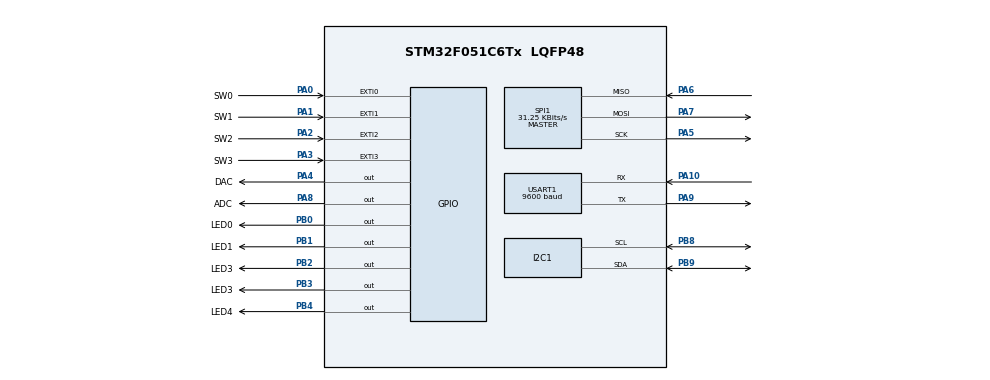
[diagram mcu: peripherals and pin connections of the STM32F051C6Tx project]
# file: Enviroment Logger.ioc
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Mcu.Family=STM32F0
Mcu.Name=STM32F051C6Tx
Mcu.Package=LQFP48
Mcu.UserConstants=SHDN,0x10;GA,0x20;BUF,0x40;SNGL,0x80;CH0,0x00;CH1,0x10;CH2,0x20;RTC_ADDR,0x6F;RTC_SEC_ADDR,0x00;RTC_MIN_ADDR,0x01;RTC_HOUR_ADDR,0x02;RTC_WEEKDAY_ADDR,0x03;RTC_DATE_ADDR,0x04;RTC_MONTH_ADDR,0x05;RTC_YEAR_ADDR,0x06
NVIC.EXTI0_1_IRQn=true\:3\:0\:true\:false\:true\:true\:true
NVIC.EXTI2_3_IRQn=true\:0\:0\:false\:false\:true\:true\:true
NVIC.SPI1_IRQn=true\:0\:0\:false\:false\:true\:true\:true
NVIC.USART1_IRQn=true\:2\:0\:true\:false\:true\:true\:true
PA0.GPIO_Label=SW0
PA0.GPIO_ModeDefaultEXTI=GPIO_MODE_IT_FALLING
PA0.GPIO_PuPd=GPIO_PULLUP
PA0.Signal=GPXTI0
PA1.GPIO_Label=SW1
PA1.GPIO_ModeDefaultEXTI=GPIO_MODE_IT_FALLING
PA1.GPIO_PuPd=GPIO_PULLUP
PA1.Signal=GPXTI1
PA10.Mode=Asynchronous
PA10.Signal=USART1_RX
PA2.GPIO_Label=SW2
PA2.GPIO_ModeDefaultEXTI=GPIO_MODE_IT_FALLING
PA2.GPIO_PuPd=GPIO_PULLUP
PA2.Signal=GPXTI2
PA3.GPIO_Label=SW3
PA3.GPIO_ModeDefaultEXTI=GPIO_MODE_IT_FALLING
PA3.GPIO_PuPd=GPIO_PULLUP
PA3.Signal=GPXTI3
PA4.GPIO_Label=DAC
PA4.GPIO_Speed=GPIO_SPEED_FREQ_MEDIUM
PA4.PinState=GPIO_PIN_SET
PA4.Signal=GPIO_Output
PA5.Mode=Full_Duplex_Master
PA5.Signal=SPI1_SCK
PA6.Mode=Full_Duplex_Master
PA6.Signal=SPI1_MISO
PA7.Mode=Full_Duplex_Master
PA7.Signal=SPI1_MOSI
PA8.GPIO_Label=ADC
PA8.Signal=GPIO_Output
PA9.Mode=Asynchronous
PA9.Signal=USART1_TX
PB0.GPIO_Label=LED0
PB0.Signal=GPIO_Output
PB1.GPIO_Label=LED1
PB1.Signal=GPIO_Output
PB2.GPIO_Label=LED3
PB2.Signal=GPIO_Output
PB3.GPIO_Label=LED3
PB3.Signal=GPIO_Output
PB4.GPIO_Label=LED4
PB4.Signal=GPIO_Output
PB8.Mode=I2C
PB8.Signal=I2C1_SCL
PB9.Mode=I2C
PB9.Signal=I2C1_SDA
ProjectManager.HeapSize=0x200
ProjectManager.StackSize=0x400
ProjectManager.TargetToolchain=STM32CubeIDE
SPI1.BaudRatePrescaler=SPI_BAUDRATEPRESCALER_256
SPI1.CalculateBaudRate=31.25 KBits/s
SPI1.DataSize=SPI_DATASIZE_16BIT
SPI1.Direction=SPI_DIRECTION_2LINES
SPI1.Mode=SPI_MODE_MASTER
SPI1.TIMode=SPI_TIMODE_DISABLE
SPI1.VirtualType=VM_MASTER
USART1.BaudRate=9600
USART1.Mode=MODE_TX_RX
USART1.RxPinLevelInvertParam=ADVFEATURE_RXINV_DISABLE
USART1.TxPinLevelInvertParam=ADVFEATURE_TXINV_DISABLE
USART1.VirtualMode-Asynchronous=VM_ASYNC
board=custom

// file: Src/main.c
/* USER CODE BEGIN Header */

/* USER CODE END Header */

#include "main.h"

/* USER CODE BEGIN PTD */
/**
 * @brief			A holding structure for a decimal separated number.
 * @param 			ones The decimal ones of the number.
 * @param 			tens The decimal tens of the number.
 */
typedef struct {
	uint8_t ones;
	uint8_t tens;
} decimalSeperatedValue;

/**
 * @brief			A holding structure for all parameters tracked by the MCP7940 RTC.
 */
typedef struct {
	uint8_t seconds;
	uint8_t minutes;
	uint8_t hours;
	uint8_t weekday;
	uint8_t date;
	uint8_t month;
	uint8_t year;
} time;
/* USER CODE END PTD */

/* USER CODE BEGIN PD */
#define ADC_Channels 3
/* USER CODE END PD */

I2C_HandleTypeDef hi2c1;

SPI_HandleTypeDef hspi1;

UART_HandleTypeDef huart1;

void SystemClock_Config(void);
static void MX_GPIO_Init(void);
static void MX_SPI1_Init(void);
static void MX_USART1_UART_Init(void);
static void MX_I2C1_Init(void);
/* USER CODE BEGIN PFP */
void writeDACVoltage(float);
void writeDAC(uint16_t *);

float readADC		(uint8_t);
float readADCMean(uint8_t);

void setRTCTime(time);
void setRTCSeconds(uint8_t);
void setRTCMinutes(uint8_t);
void setRTCHours(uint8_t);
void setRTCWeekday(uint8_t);
void setRTCDate(uint8_t);
void setRTCMonth(uint8_t, uint8_t);
void setRTCYear(uint8_t);

time 	getRTCTime();
uint8_t getRTCSeconds();
uint8_t getRTCMinutes();
uint8_t getRTCHours();
uint8_t getRTCWeekday();
uint8_t getRTCDate();
uint8_t getRTCMonth();
uint8_t getRTCYear();

uint8_t startRTC();
uint8_t stopRTC();
uint8_t getRTCOscillatorStatus();

uint8_t mean(uint16_t *);
float   meanf(float    *);

decimalSeperatedValue seperateDecimalValues(uint8_t);
uint8_t mergeDecimalSeperatedValue(decimalSeperatedValue);
decimalSeperatedValue extractRegisterValues(uint8_t, uint8_t);
/* USER CODE END PFP */

/* USER CODE BEGIN 0 */
static uint8_t UARTbuffer[1];

static time t = {
		  .seconds = 50,
		  .minutes = 59,
		  .hours   = 23,
		  .weekday = 7,
		  .date	   = 10,
		  .month   = 10,
		  .year	   = 19
};

/* USER CODE END 0 */

int main(void)
{

  /* MCU Configuration--------------------------------------------------------*/

  /* Reset of all peripherals, Initializes the Flash interface and the Systick. */
  HAL_Init();

  /* Configure the system clock */
  SystemClock_Config();

  /* Initialize all configured peripherals */
  MX_GPIO_Init();
  MX_SPI1_Init();
  MX_USART1_UART_Init();
  MX_I2C1_Init();
  /* USER CODE BEGIN 2 */
  HAL_UART_Receive_IT(&huart1, UARTbuffer, sizeof(UARTbuffer));

  writeDACVoltage(2.1);

  setRTCTime(t);
  startRTC();

  /* USER CODE END 2 */

  /* Infinite loop */
  while (1){

    /* USER CODE BEGIN 3 */
    t = getRTCTime();
	HAL_Delay(1000);

  }
  /* USER CODE END 3 */
}

void SystemClock_Config(void)
{
  RCC_OscInitTypeDef RCC_OscInitStruct = {0};
  RCC_ClkInitTypeDef RCC_ClkInitStruct = {0};
  RCC_PeriphCLKInitTypeDef PeriphClkInit = {0};

  /** Initializes the CPU, AHB and APB busses clocks
  */
  RCC_OscInitStruct.OscillatorType = RCC_OSCILLATORTYPE_HSI;
  RCC_OscInitStruct.HSIState = RCC_HSI_ON;
  RCC_OscInitStruct.HSICalibrationValue = RCC_HSICALIBRATION_DEFAULT;
  RCC_OscInitStruct.PLL.PLLState = RCC_PLL_NONE;
  if (HAL_RCC_OscConfig(&RCC_OscInitStruct) != HAL_OK)
  {
    Error_Handler();
  }
  /** Initializes the CPU, AHB and APB busses clocks
  */
  RCC_ClkInitStruct.ClockType = RCC_CLOCKTYPE_HCLK|RCC_CLOCKTYPE_SYSCLK
                              |RCC_CLOCKTYPE_PCLK1;
  RCC_ClkInitStruct.SYSCLKSource = RCC_SYSCLKSOURCE_HSI;
  RCC_ClkInitStruct.AHBCLKDivider = RCC_SYSCLK_DIV1;
  RCC_ClkInitStruct.APB1CLKDivider = RCC_HCLK_DIV1;

  if (HAL_RCC_ClockConfig(&RCC_ClkInitStruct, FLASH_LATENCY_0) != HAL_OK)
  {
    Error_Handler();
  }
  PeriphClkInit.PeriphClockSelection = RCC_PERIPHCLK_USART1|RCC_PERIPHCLK_I2C1;
  PeriphClkInit.Usart1ClockSelection = RCC_USART1CLKSOURCE_PCLK1;
  PeriphClkInit.I2c1ClockSelection = RCC_I2C1CLKSOURCE_HSI;
  if (HAL_RCCEx_PeriphCLKConfig(&PeriphClkInit) != HAL_OK)
  {
    Error_Handler();
  }
}

static void MX_I2C1_Init(void)
{

  hi2c1.Instance = I2C1;
  hi2c1.Init.Timing = 0x2000090E;
  hi2c1.Init.OwnAddress1 = 0;
  hi2c1.Init.AddressingMode = I2C_ADDRESSINGMODE_7BIT;
  hi2c1.Init.DualAddressMode = I2C_DUALADDRESS_DISABLE;
  hi2c1.Init.OwnAddress2 = 0;
  hi2c1.Init.OwnAddress2Masks = I2C_OA2_NOMASK;
  hi2c1.Init.GeneralCallMode = I2C_GENERALCALL_DISABLE;
  hi2c1.Init.NoStretchMode = I2C_NOSTRETCH_DISABLE;
  if (HAL_I2C_Init(&hi2c1) != HAL_OK)
  {
    Error_Handler();
  }
  /** Configure Analogue filter
  */
  if (HAL_I2CEx_ConfigAnalogFilter(&hi2c1, I2C_ANALOGFILTER_ENABLE) != HAL_OK)
  {
    Error_Handler();
  }
  /** Configure Digital filter
  */
  if (HAL_I2CEx_ConfigDigitalFilter(&hi2c1, 0) != HAL_OK)
  {
    Error_Handler();
  }

}

static void MX_SPI1_Init(void)
{

  /* SPI1 parameter configuration*/
  hspi1.Instance = SPI1;
  hspi1.Init.Mode = SPI_MODE_MASTER;
  hspi1.Init.Direction = SPI_DIRECTION_2LINES;
  hspi1.Init.DataSize = SPI_DATASIZE_16BIT;
  hspi1.Init.CLKPolarity = SPI_POLARITY_LOW;
  hspi1.Init.CLKPhase = SPI_PHASE_1EDGE;
  hspi1.Init.NSS = SPI_NSS_SOFT;
  hspi1.Init.BaudRatePrescaler = SPI_BAUDRATEPRESCALER_256;
  hspi1.Init.FirstBit = SPI_FIRSTBIT_MSB;
  hspi1.Init.TIMode = SPI_TIMODE_DISABLE;
  hspi1.Init.CRCCalculation = SPI_CRCCALCULATION_DISABLE;
  hspi1.Init.CRCPolynomial = 7;
  hspi1.Init.CRCLength = SPI_CRC_LENGTH_DATASIZE;
  hspi1.Init.NSSPMode = SPI_NSS_PULSE_ENABLE;
  if (HAL_SPI_Init(&hspi1) != HAL_OK)
  {
    Error_Handler();
  }

}

static void MX_USART1_UART_Init(void)
{

  huart1.Instance = USART1;
  huart1.Init.BaudRate = 9600;
  huart1.Init.WordLength = UART_WORDLENGTH_8B;
  huart1.Init.StopBits = UART_STOPBITS_1;
  huart1.Init.Parity = UART_PARITY_NONE;
  huart1.Init.Mode = UART_MODE_TX_RX;
  huart1.Init.HwFlowCtl = UART_HWCONTROL_NONE;
  huart1.Init.OverSampling = UART_OVERSAMPLING_16;
  huart1.Init.OneBitSampling = UART_ONE_BIT_SAMPLE_DISABLE;
  huart1.AdvancedInit.AdvFeatureInit = UART_ADVFEATURE_NO_INIT;
  if (HAL_UART_Init(&huart1) != HAL_OK)
  {
    Error_Handler();
  }

}

static void MX_GPIO_Init(void)
{
  GPIO_InitTypeDef GPIO_InitStruct = {0};

  /* GPIO Ports Clock Enable */
  __HAL_RCC_GPIOA_CLK_ENABLE();
  __HAL_RCC_GPIOB_CLK_ENABLE();

  /*Configure GPIO pin Output Level */
  HAL_GPIO_WritePin(DAC_GPIO_Port, DAC_Pin, GPIO_PIN_SET);

  /*Configure GPIO pin Output Level */
  HAL_GPIO_WritePin(GPIOB, LED0_Pin|LED1_Pin|LED3_Pin|LED3B3_Pin
                          |LED4_Pin, GPIO_PIN_RESET);

  /*Configure GPIO pin Output Level */
  HAL_GPIO_WritePin(ADC_GPIO_Port, ADC_Pin, GPIO_PIN_RESET);

  /*Configure GPIO pins : SW0_Pin SW1_Pin SW2_Pin SW3_Pin */
  GPIO_InitStruct.Pin = SW0_Pin|SW1_Pin|SW2_Pin|SW3_Pin;
  GPIO_InitStruct.Mode = GPIO_MODE_IT_FALLING;
  GPIO_InitStruct.Pull = GPIO_PULLUP;
  HAL_GPIO_Init(GPIOA, &GPIO_InitStruct);

  /*Configure GPIO pin : DAC_Pin */
  GPIO_InitStruct.Pin = DAC_Pin;
  GPIO_InitStruct.Mode = GPIO_MODE_OUTPUT_PP;
  GPIO_InitStruct.Pull = GPIO_NOPULL;
  GPIO_InitStruct.Speed = GPIO_SPEED_FREQ_MEDIUM;
  HAL_GPIO_Init(DAC_GPIO_Port, &GPIO_InitStruct);

  /*Configure GPIO pins : LED0_Pin LED1_Pin LED3_Pin LED3B3_Pin
                           LED4_Pin */
  GPIO_InitStruct.Pin = LED0_Pin|LED1_Pin|LED3_Pin|LED3B3_Pin
                          |LED4_Pin;
  GPIO_InitStruct.Mode = GPIO_MODE_OUTPUT_PP;
  GPIO_InitStruct.Pull = GPIO_NOPULL;
  GPIO_InitStruct.Speed = GPIO_SPEED_FREQ_LOW;
  HAL_GPIO_Init(GPIOB, &GPIO_InitStruct);

  /*Configure GPIO pin : ADC_Pin */
  GPIO_InitStruct.Pin = ADC_Pin;
  GPIO_InitStruct.Mode = GPIO_MODE_OUTPUT_PP;
  GPIO_InitStruct.Pull = GPIO_NOPULL;
  GPIO_InitStruct.Speed = GPIO_SPEED_FREQ_LOW;
  HAL_GPIO_Init(ADC_GPIO_Port, &GPIO_InitStruct);

  /* EXTI interrupt init*/
  HAL_NVIC_SetPriority(EXTI0_1_IRQn, 3, 0);
  HAL_NVIC_EnableIRQ(EXTI0_1_IRQn);

  HAL_NVIC_SetPriority(EXTI2_3_IRQn, 0, 0);
  HAL_NVIC_EnableIRQ(EXTI2_3_IRQn);

}

/* USER CODE BEGIN 4 */

/**
 * @brief Transmit a 10-bit value to the external MCP4911 DAC.
 * The command assembles a transmitting stream and transmits it to the DAC.
 * Configure bits are hard coded by the coefficients in the summing line to predefined bit values.
 * @param n: The 10-bit DAC value. Bits 15-10 are nulled to 0 by default.
 * @retval None
 */
void writeDACNumber(uint16_t n){
	uint8_t data[2];

	data[1] = (1*BUF + 1*GA + 1*SHDN);							// Set configuration bits
	data[1] |=((n & 0x03FF) >> 6);								// Add 4 MSB to RHS
	data[0] = ((n * 0x003F) << 2);								// Add 6 LSb to LHS

	HAL_GPIO_WritePin(DAC_GPIO_Port, DAC_Pin, GPIO_PIN_RESET);
	HAL_SPI_Transmit(&hspi1, data, 2, HAL_MAX_DELAY);
	HAL_GPIO_WritePin(DAC_GPIO_Port, DAC_Pin, GPIO_PIN_SET);
}

/**
 * @brief Command the external MCP4911 DAC to output a set voltage between 0 and 3V3
 * If the input exceeds this range the output is set to 0V;
 * @param V: The desired voltage output. Set to 0 if out of 0-3V3 range.
 * @retval None
 */
void writeDACVoltage(float V){
	if(V < 0.0)
		V = 0.0;
	writeDACNumber((uint16_t) ( (V/3.3) * 0x3FF) & 0x3FF);
}

/**
 * @brief 	Read the mean value of channel on the external SPI MCP3008 ADC in single mode (not differential)
 * @Note 	This function takes 10 readings in quick succession and averages the result.
 * 			This reduces the effect of random errors and settling time.
 * 			Should only be used for low request frequencies.
 * @param channel: 	The channel of the ADC to read from (CH0-CH3)
 * @retval 			The value Voltage of the reading (3V3 reference assumed)
 */
float readADCMean(uint8_t channel){
	float ADC_Values[10];

	for(int i = 0; i<10; i++){
		ADC_Values[i] = readADC(channel);
	}

	float Mean_ADC_Voltage = meanf(ADC_Values);

	return Mean_ADC_Voltage;
}

/**
 * @brief 			Read a channel on the external SPI MCP3008 ADC in single mode (not differential)
 * @param channel: 	The channel of the ADC to read from (CH0-CH3)
 * @retval 			The value Voltage of the reading (3V3 reference assumed)
 */
float readADC(uint8_t channel){
	uint8_t ADC_Tx[3];
	uint8_t ADC_Rx[3];

	ADC_Tx[2] = 0x01;
	ADC_Tx[1] = SNGL + channel;
	ADC_Tx[0] = 0x00;

	HAL_GPIO_WritePin(ADC_GPIO_Port, ADC_Pin, GPIO_PIN_RESET);
	HAL_SPI_TransmitReceive(&hspi1, ADC_Tx, ADC_Rx, 3, HAL_MAX_DELAY);
	HAL_GPIO_WritePin(ADC_GPIO_Port, ADC_Pin, GPIO_PIN_SET);

	float ADC_Value = ( ( ((ADC_Rx[1] & 0x3) << 8) + ADC_Rx[0]) << 1) * 3.3/1024.0;

	return ADC_Value;
}

/**
 * @brief			Set all data fields of the MCP7940 RTC.
 * @param 			.
 * @retval			A time struct containing the current RTC information.
 */
void setRTCTime(time t){
	setRTCSeconds	(t.seconds);
	setRTCMinutes	(t.minutes);
	setRTCHours		(t.hours);
	setRTCWeekday	(t.weekday);
	setRTCMonth		(t.month, t.year);
	setRTCYear		(t.year);
}
void setRTCSeconds(uint8_t sec){
	sec %= 60;
	decimalSeperatedValue s = seperateDecimalValues(sec);
	uint8_t RTC_Tx[1] = {(s.tens<<4) | s.ones};
	HAL_I2C_Mem_Write(&hi2c1, RTC_ADDR<<1, RTC_SEC_ADDR, 1, RTC_Tx, 1, HAL_MAX_DELAY);
}
void setRTCMinutes(uint8_t min){
	min %= 60;
	decimalSeperatedValue s = seperateDecimalValues(min);
	uint8_t RTC_Tx[1] = {(s.tens<<4) | s.ones};
	HAL_I2C_Mem_Write(&hi2c1, RTC_ADDR<<1, RTC_MIN_ADDR, 1, RTC_Tx, 1, HAL_MAX_DELAY);
}
void setRTCHours(uint8_t hour){
	hour %= 24;
	decimalSeperatedValue s = seperateDecimalValues(hour);
	uint8_t RTC_Tx[1] = {~0x40 & ((s.tens<<4) | s.ones)};
	HAL_I2C_Mem_Write(&hi2c1, RTC_ADDR<<1, RTC_HOUR_ADDR, 1, RTC_Tx, 1, HAL_MAX_DELAY);
}
void setRTCWeekday(uint8_t weekday){
	if(weekday > 7)
		weekday = 1;

	uint8_t RTC_Tx[1] = {weekday};
	HAL_I2C_Mem_Write(&hi2c1, RTC_ADDR<<1, RTC_WEEKDAY_ADDR, 1, RTC_Tx, 1, HAL_MAX_DELAY);
}
void setRTCDate(uint8_t date){
	if(date > 31)
		date = 1;

	decimalSeperatedValue s = seperateDecimalValues(date);
	uint8_t RTC_Tx[1] = {(s.tens<<4) | s.ones};
	HAL_I2C_Mem_Write(&hi2c1, RTC_ADDR<<1, RTC_DATE_ADDR, 1, RTC_Tx, 1, HAL_MAX_DELAY);
}
void setRTCMonth(uint8_t month, uint8_t year){
	if(month > 12)
		month = 1;
	decimalSeperatedValue s = seperateDecimalValues(month);

	uint8_t leapyear;
	if(year % 4 ==0){
		if(year % 100 != 0){
			if(year%400 == 0){
				leapyear = 0x20;
			}
			else{
				leapyear = 0x00;
			}
		}
		else{
			leapyear = 0x20;
		}
	}
	else{
		leapyear = 0x00;
	}

	uint8_t RTC_Tx[1] = {leapyear | (s.tens<<4) | s.ones};
	HAL_I2C_Mem_Write(&hi2c1, RTC_ADDR<<1, RTC_MONTH_ADDR, 1, RTC_Tx, 1, HAL_MAX_DELAY);
}
void setRTCYear(uint8_t year){
	year %= 100;
	decimalSeperatedValue s = seperateDecimalValues(year);
	uint8_t RTC_Tx[1] = {(s.tens<<4) | s.ones};
	HAL_I2C_Mem_Write(&hi2c1, RTC_ADDR<<1, RTC_YEAR_ADDR, 1, RTC_Tx, 1, HAL_MAX_DELAY);
}

/**
 * @brief			Read all data fields of the MCP7940 RTC.
 * @param 			None.
 * @retval			The current time set on the RTC.
 */
time 	getRTCTime(){
	time t;
	t.seconds = getRTCSeconds();
	t.minutes = getRTCMinutes();
	t.hours	  = getRTCHours();
	t.weekday = getRTCWeekday();
	t.date	  = getRTCDate();
	t.month	  = getRTCMonth();
	t.year	  = getRTCYear();
	return t;
}
uint8_t getRTCSeconds(){
	uint8_t RTC_Rx[1];
	HAL_I2C_Mem_Read(&hi2c1, RTC_ADDR<<1, RTC_SEC_ADDR, 1, RTC_Rx, 1, HAL_MAX_DELAY);
	uint8_t sec = mergeDecimalSeperatedValue(extractRegisterValues(RTC_Rx[0], 3));
	return sec;
}
uint8_t getRTCMinutes(){
	uint8_t RTC_Rx[1];
	HAL_I2C_Mem_Read(&hi2c1, RTC_ADDR<<1, RTC_MIN_ADDR, 1, RTC_Rx, 1, HAL_MAX_DELAY);
	uint8_t min = mergeDecimalSeperatedValue(extractRegisterValues(RTC_Rx[0], 3));
	return min;
}
uint8_t getRTCHours(){
	uint8_t RTC_Rx[1];
	HAL_I2C_Mem_Read(&hi2c1, RTC_ADDR<<1, RTC_HOUR_ADDR, 1, RTC_Rx, 1, HAL_MAX_DELAY);
	uint8_t hour = mergeDecimalSeperatedValue(extractRegisterValues(RTC_Rx[0], 2));
	return hour;
}
uint8_t getRTCWeekday(){
	uint8_t RTC_Rx[1];
	HAL_I2C_Mem_Read(&hi2c1, RTC_ADDR<<1, RTC_WEEKDAY_ADDR, 1, RTC_Rx, 1, HAL_MAX_DELAY);
	uint8_t weekday = RTC_Rx[0] & 0x07;
	return weekday;
}
uint8_t getRTCDate(){
	uint8_t RTC_Rx[1];
	HAL_I2C_Mem_Read(&hi2c1, RTC_ADDR<<1, RTC_DATE_ADDR, 1, RTC_Rx, 1, HAL_MAX_DELAY);
	uint8_t date = mergeDecimalSeperatedValue(extractRegisterValues(RTC_Rx[0], 2));
	return date;
}
uint8_t getRTCMonth(){
	uint8_t RTC_Rx[1];
	HAL_I2C_Mem_Read(&hi2c1, RTC_ADDR<<1, RTC_MONTH_ADDR, 1, RTC_Rx, 1, HAL_MAX_DELAY);
	uint8_t month = mergeDecimalSeperatedValue(extractRegisterValues(RTC_Rx[0], 1));
	return month;
}
uint8_t getRTCYear(){
	uint8_t RTC_Rx[1];
	HAL_I2C_Mem_Read(&hi2c1, RTC_ADDR<<1, RTC_YEAR_ADDR, 1, RTC_Rx, 1, HAL_MAX_DELAY);
	uint8_t year = mergeDecimalSeperatedValue(extractRegisterValues(RTC_Rx[0], 4));
	return year;
}

/**
 * @brief			Start the MCP7940 RTC.
 * @param 			None.
 * @retval			The OSCRUN bit on the RTC. 1 = running, 0 = not running (oscillator failure).
 */
uint8_t startRTC(){
	decimalSeperatedValue s = seperateDecimalValues(getRTCSeconds());

	uint8_t RTC_Tx[1] = {0x80 | (s.tens<<4) | s.ones};

	HAL_I2C_Mem_Write(&hi2c1, RTC_ADDR<<1, RTC_SEC_ADDR, 1, RTC_Tx, 1, HAL_MAX_DELAY);

	HAL_Delay(3);						// Delay by 3ms to give margin for ~1ms time for OSCRUN bit to set

	return getRTCOscillatorStatus();
}

/**
 * @brief			Stop the MCP7940 RTC.
 * @param 			None.
 * @retval			The OSCRUN bit on the RTC. 1 = running (failure to stop), 0 = not running (success)
 */
uint8_t stopRTC(){
	setRTCSeconds(getRTCSeconds());		// This effectively clears the ST bit while retaining the seconds value.
	HAL_Delay(3);						// ~1ms of no oscillator is required before the OSCRUN bit is changed
	return getRTCOscillatorStatus();
}

/**
 * @brief			Read the run status of the MCP7940 RTC.
 * @param 			None.
 * @retval			The OSCRUN bit on the RTC. 1 = running, 0 = not running (stopped or oscillator failure)
 */
uint8_t getRTCOscillatorStatus(){
	uint8_t RTC_Rx[1];
	HAL_I2C_Mem_Read(&hi2c1, RTC_ADDR<<1, RTC_WEEKDAY_ADDR, 1, RTC_Rx, 1, HAL_MAX_DELAY);
	uint8_t oscStatus = (RTC_Rx[0] & 0x20) >> 5;
	return oscStatus;
}

void HAL_GPIO_EXTI_Callback(uint16_t GPIO_Pin){
	HAL_GPIO_TogglePin(LED1_GPIO_Port, LED1_Pin);

	switch(GPIO_Pin){
		case SW0_Pin:

			break;
		case SW1_Pin:

			break;
		case SW2_Pin:

			break;
		case SW3_Pin:

			break;
		default:
			break;
	}

}

void HAL_UART_RxCpltCallback(UART_HandleTypeDef *huart){
	HAL_GPIO_TogglePin(LED0_GPIO_Port, LED0_Pin);
	HAL_UART_Transmit(&huart1, UARTbuffer, sizeof(UARTbuffer), HAL_MAX_DELAY);

	writeDACVoltage((float) (((UARTbuffer[0]-'0') * (3.3/10))));

	HAL_UART_Receive_IT(&huart1, UARTbuffer, sizeof(UARTbuffer));
}

void HAL_UART_TxCpltCallback(UART_HandleTypeDef *huart){

}

uint8_t mean(uint16_t * a){
	uint8_t sum = 0;
	int n = (sizeof(a) / sizeof(a[0]));
	for(int i = 0 ; i< n ; i++){
		sum+=a[i];
	}
	return (uint8_t)(sum / n);
}
float meanf(float * a){
	float sum = 0.0;
	int n = (sizeof(a) / sizeof(a[0]));

	for(int i = 0 ; i< n ; i++){
		sum+=a[i];
	}
	return (float)(sum / n);
}

/**
 * @brief			Separate a binary number into the decimal tens and ones components.
 * @param 			n The number to be separated.
 * @retval			s The structure for a decimal separated number.
 */
decimalSeperatedValue seperateDecimalValues(uint8_t n){
	decimalSeperatedValue s;
	s.ones = n % 10;
	s.tens = (n - s.ones) / 10;

	return s;
}

/**
 * @brief			Recombine a decimal separated structure to the original number.
 * @param 			s The decimal separated number.
 * @retval			The numerical value of the decimal separated number.
 */
uint8_t mergeDecimalSeperatedValue(decimalSeperatedValue s){
	return s.tens*10 + s.ones;
}

/**
 * @brief			Extract the value of a register read from the MCP7940 RTC.
 * @note			The RTC follows the separated decimal value format.
 * @param 			reg The raw register value read.
 * @param			n_tens The number of bits that constitute tens decimal bits within reg.
 * @retval			s The separated tens and ones extracted from reg.
 */
decimalSeperatedValue extractRegisterValues(uint8_t reg, uint8_t n_tens){
	decimalSeperatedValue s;
	s.tens = (reg & ( (1<<n_tens) - 1)<<4) >> 4;
	s.ones = reg & 0x0F;

	return s;
}

/* USER CODE END 4 */

void Error_Handler(void)
{
}

/************************ (C) COPYRIGHT STMicroelectronics *****END OF FILE****/
